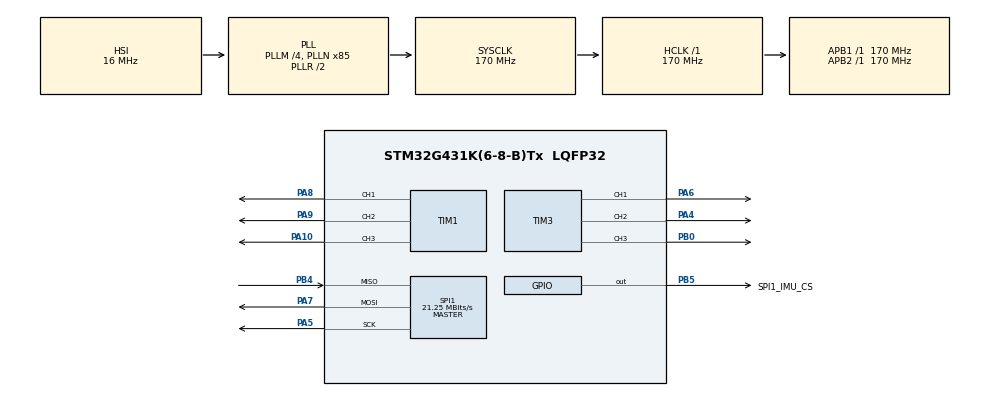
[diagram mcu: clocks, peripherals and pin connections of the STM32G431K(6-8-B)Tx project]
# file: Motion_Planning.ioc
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Mcu.Family=STM32G4
Mcu.Name=STM32G431K(6-8-B)Tx
Mcu.Package=LQFP32
NUCLEO-G431KB.LD2=true
NUCLEO-G431KB.VCP=true
NVIC.PriorityGroup=NVIC_PRIORITYGROUP_4
PA10.Signal=S_TIM1_CH3
PA13.GPIO_Label=T_SWDIO
PA13.Signal=SYS_JTMS-SWDIO
PA14.GPIO_Label=T_SWCLK
PA14.Signal=SYS_JTCK-SWCLK
PA2.Signal=USART2_TX
PA3.Signal=USART2_RX
PA4.Signal=S_TIM3_CH2
PA5.Mode=Full_Duplex_Master
PA5.Signal=SPI1_SCK
PA6.Signal=S_TIM3_CH1
PA7.Mode=Full_Duplex_Master
PA7.Signal=SPI1_MOSI
PA8.Signal=S_TIM1_CH1
PA9.Signal=S_TIM1_CH2
PB0.Signal=S_TIM3_CH3
PB3.GPIO_Label=T_SWO
PB3.Signal=SYS_JTDO-SWO
PB4.Mode=Full_Duplex_Master
PB4.Signal=SPI1_MISO
PB5.GPIO_Label=SPI1_IMU_CS
PB5.Signal=GPIO_Output
ProjectManager.HeapSize=0x200
ProjectManager.StackSize=0x400
ProjectManager.TargetToolchain=STM32CubeIDE
RCC.ADC12Freq_Value=170000000
RCC.AHBFreq_Value=170000000
RCC.APB1Freq_Value=170000000
RCC.APB1TimFreq_Value=170000000
RCC.APB2Freq_Value=170000000
RCC.APB2TimFreq_Value=170000000
RCC.CortexFreq_Value=170000000
RCC.EXTERNAL_CLOCK_VALUE=12288000
RCC.HCLKFreq_Value=170000000
RCC.HSE_VALUE=8000000
RCC.HSI48_VALUE=48000000
RCC.HSI_VALUE=16000000
RCC.LSE_VALUE=32768
RCC.PLLM=RCC_PLLM_DIV4
RCC.PLLN=85
RCC.SYSCLKFreq_VALUE=170000000
RCC.SYSCLKSource=RCC_SYSCLKSOURCE_PLLCLK
RCC.USBFreq_Value=170000000
RCC.VCOOutputFreq_Value=340000000
SH.S_TIM1_CH1.0=TIM1_CH1,PWM Generation1 CH1
SH.S_TIM1_CH2.0=TIM1_CH2,PWM Generation2 CH2
SH.S_TIM1_CH3.0=TIM1_CH3,PWM Generation3 CH3
SH.S_TIM3_CH1.0=TIM3_CH1,PWM Generation1 CH1
SH.S_TIM3_CH2.0=TIM3_CH2,PWM Generation2 CH2
SH.S_TIM3_CH3.0=TIM3_CH3,PWM Generation3 CH3
SPI1.BaudRatePrescaler=SPI_BAUDRATEPRESCALER_8
SPI1.CalculateBaudRate=21.25 MBits/s
SPI1.DataSize=SPI_DATASIZE_8BIT
SPI1.Direction=SPI_DIRECTION_2LINES
SPI1.Mode=SPI_MODE_MASTER
SPI1.VirtualType=VM_MASTER
TIM1.Channel-PWM\ Generation1\ CH1=TIM_CHANNEL_1
TIM1.Channel-PWM\ Generation2\ CH2=TIM_CHANNEL_2
TIM1.Channel-PWM\ Generation3\ CH3=TIM_CHANNEL_3
TIM3.Channel-PWM\ Generation1\ CH1=TIM_CHANNEL_1
TIM3.Channel-PWM\ Generation2\ CH2=TIM_CHANNEL_2
TIM3.Channel-PWM\ Generation3\ CH3=TIM_CHANNEL_3
VP_NUCLEO-G431KB_VS_BSP_COMMON.Mode=COMMON
VP_SYS_VS_DBSignals.Mode=DisableDeadBatterySignals
VP_TIM1_VS_ClockSourceINT.Mode=Internal
VP_TIM3_VS_ClockSourceINT.Mode=Internal
board=NUCLEO-G431KB

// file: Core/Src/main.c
/* USER CODE BEGIN Header */
/**
  ******************************************************************************
  * @file           : main.c
  * @brief          : Main program body
  ******************************************************************************
  * @attention
  *
  * Copyright (c) 2026 STMicroelectronics.
  * All rights reserved.
  *
  * This software is licensed under terms that can be found in the LICENSE file
  * in the root directory of this software component.
  * If no LICENSE file comes with this software, it is provided AS-IS.
  *
  ******************************************************************************
  */
/* USER CODE END Header */
#include "main.h"

/* USER CODE BEGIN PTD */

typedef enum {
	MOTOR_CH_1 = TIM_CHANNEL_1,
	MOTOR_CH_2 = TIM_CHANNEL_2,
	MOTOR_CH_3 = TIM_CHANNEL_3
} MOTOR_t;

/* USER CODE END PTD */

/* USER CODE BEGIN PD */

#define PWM_PERIOD 8500

/* USER CODE END PD */

COM_InitTypeDef BspCOMInit;

SPI_HandleTypeDef hspi1;

TIM_HandleTypeDef htim1;
TIM_HandleTypeDef htim3;

void SystemClock_Config(void);
static void MX_GPIO_Init(void);
static void MX_TIM1_Init(void);
static void MX_TIM3_Init(void);
static void MX_SPI1_Init(void);
/* USER CODE BEGIN PFP */

static void set_motor_PWM(TIM_HandleTypeDef* currTIM, MOTOR_t currMotor, float new_Duty);

/* USER CODE END PFP */

/* USER CODE BEGIN 0 */

static void set_motor_PWM(TIM_HandleTypeDef* currTIM, MOTOR_t currMotor, float new_Duty)   // duty: 0.0 to 1.0
{
    if (new_Duty < 0.0f) new_Duty = 0.0f;
    if (new_Duty > 1.0f) new_Duty = 1.0f;
    int new_ccr = new_Duty * PWM_PERIOD;
    __HAL_TIM_SET_COMPARE(currTIM, (uint32_t)currMotor, new_ccr);
}

/* USER CODE END 0 */

int main(void)
{

  /* MCU Configuration--------------------------------------------------------*/

  /* Reset of all peripherals, Initializes the Flash interface and the Systick. */
  HAL_Init();

  /* Configure the system clock */
  SystemClock_Config();

  /* Initialize all configured peripherals */
  MX_GPIO_Init();
  MX_TIM1_Init();
  MX_TIM3_Init();
  MX_SPI1_Init();
  /* USER CODE BEGIN 2 */

  //Left side i think
  set_motor_PWM(&htim1, MOTOR_CH_1, 0.25f);
  set_motor_PWM(&htim1, MOTOR_CH_2, 0.50f);
  set_motor_PWM(&htim1, MOTOR_CH_3, 0.75f);

  //Right side i think
  set_motor_PWM(&htim3, MOTOR_CH_1, 0.75f);
  set_motor_PWM(&htim3, MOTOR_CH_2, 0.50f);
  set_motor_PWM(&htim3, MOTOR_CH_3, 0.25f);

  /* USER CODE END 2 */

  /* Initialize leds */
  BSP_LED_Init(LED_GREEN);

  /* Initialize COM1 port (115200, 8 bits (7-bit data + 1 stop bit), no parity */
  BspCOMInit.BaudRate   = 115200;
  BspCOMInit.WordLength = COM_WORDLENGTH_8B;
  BspCOMInit.StopBits   = COM_STOPBITS_1;
  BspCOMInit.Parity     = COM_PARITY_NONE;
  BspCOMInit.HwFlowCtl  = COM_HWCONTROL_NONE;
  if (BSP_COM_Init(COM1, &BspCOMInit) != BSP_ERROR_NONE)
  {
    Error_Handler();
  }

  /* Infinite loop */
  while (1)
  {

  }
}

void SystemClock_Config(void)
{
  RCC_OscInitTypeDef RCC_OscInitStruct = {0};
  RCC_ClkInitTypeDef RCC_ClkInitStruct = {0};

  /** Configure the main internal regulator output voltage
  */
  HAL_PWREx_ControlVoltageScaling(PWR_REGULATOR_VOLTAGE_SCALE1_BOOST);

  /** Initializes the RCC Oscillators according to the specified parameters
  * in the RCC_OscInitTypeDef structure.
  */
  RCC_OscInitStruct.OscillatorType = RCC_OSCILLATORTYPE_HSI;
  RCC_OscInitStruct.HSIState = RCC_HSI_ON;
  RCC_OscInitStruct.HSICalibrationValue = RCC_HSICALIBRATION_DEFAULT;
  RCC_OscInitStruct.PLL.PLLState = RCC_PLL_ON;
  RCC_OscInitStruct.PLL.PLLSource = RCC_PLLSOURCE_HSI;
  RCC_OscInitStruct.PLL.PLLM = RCC_PLLM_DIV4;
  RCC_OscInitStruct.PLL.PLLN = 85;
  RCC_OscInitStruct.PLL.PLLP = RCC_PLLP_DIV2;
  RCC_OscInitStruct.PLL.PLLQ = RCC_PLLQ_DIV2;
  RCC_OscInitStruct.PLL.PLLR = RCC_PLLR_DIV2;
  if (HAL_RCC_OscConfig(&RCC_OscInitStruct) != HAL_OK)
  {
    Error_Handler();
  }

  /** Initializes the CPU, AHB and APB buses clocks
  */
  RCC_ClkInitStruct.ClockType = RCC_CLOCKTYPE_HCLK|RCC_CLOCKTYPE_SYSCLK
                              |RCC_CLOCKTYPE_PCLK1|RCC_CLOCKTYPE_PCLK2;
  RCC_ClkInitStruct.SYSCLKSource = RCC_SYSCLKSOURCE_PLLCLK;
  RCC_ClkInitStruct.AHBCLKDivider = RCC_SYSCLK_DIV1;
  RCC_ClkInitStruct.APB1CLKDivider = RCC_HCLK_DIV1;
  RCC_ClkInitStruct.APB2CLKDivider = RCC_HCLK_DIV1;

  if (HAL_RCC_ClockConfig(&RCC_ClkInitStruct, FLASH_LATENCY_4) != HAL_OK)
  {
    Error_Handler();
  }
}

static void MX_SPI1_Init(void)
{

  /* SPI1 parameter configuration*/
  hspi1.Instance = SPI1;
  hspi1.Init.Mode = SPI_MODE_MASTER;
  hspi1.Init.Direction = SPI_DIRECTION_2LINES;
  hspi1.Init.DataSize = SPI_DATASIZE_8BIT;
  hspi1.Init.CLKPolarity = SPI_POLARITY_LOW;
  hspi1.Init.CLKPhase = SPI_PHASE_1EDGE;
  hspi1.Init.NSS = SPI_NSS_SOFT;
  hspi1.Init.BaudRatePrescaler = SPI_BAUDRATEPRESCALER_8;
  hspi1.Init.FirstBit = SPI_FIRSTBIT_MSB;
  hspi1.Init.TIMode = SPI_TIMODE_DISABLE;
  hspi1.Init.CRCCalculation = SPI_CRCCALCULATION_DISABLE;
  hspi1.Init.CRCPolynomial = 7;
  hspi1.Init.CRCLength = SPI_CRC_LENGTH_DATASIZE;
  hspi1.Init.NSSPMode = SPI_NSS_PULSE_ENABLE;
  if (HAL_SPI_Init(&hspi1) != HAL_OK)
  {
    Error_Handler();
  }

}

static void MX_TIM1_Init(void)
{

  TIM_ClockConfigTypeDef sClockSourceConfig = {0};
  TIM_MasterConfigTypeDef sMasterConfig = {0};
  TIM_OC_InitTypeDef sConfigOC = {0};
  TIM_BreakDeadTimeConfigTypeDef sBreakDeadTimeConfig = {0};

  htim1.Instance = TIM1;
  htim1.Init.Prescaler = 0;
  htim1.Init.CounterMode = TIM_COUNTERMODE_UP;
  htim1.Init.Period = 65535;
  htim1.Init.ClockDivision = TIM_CLOCKDIVISION_DIV1;
  htim1.Init.RepetitionCounter = 0;
  htim1.Init.AutoReloadPreload = TIM_AUTORELOAD_PRELOAD_DISABLE;
  if (HAL_TIM_Base_Init(&htim1) != HAL_OK)
  {
    Error_Handler();
  }
  sClockSourceConfig.ClockSource = TIM_CLOCKSOURCE_INTERNAL;
  if (HAL_TIM_ConfigClockSource(&htim1, &sClockSourceConfig) != HAL_OK)
  {
    Error_Handler();
  }
  if (HAL_TIM_PWM_Init(&htim1) != HAL_OK)
  {
    Error_Handler();
  }
  sMasterConfig.MasterOutputTrigger = TIM_TRGO_RESET;
  sMasterConfig.MasterOutputTrigger2 = TIM_TRGO2_RESET;
  sMasterConfig.MasterSlaveMode = TIM_MASTERSLAVEMODE_DISABLE;
  if (HAL_TIMEx_MasterConfigSynchronization(&htim1, &sMasterConfig) != HAL_OK)
  {
    Error_Handler();
  }
  sConfigOC.OCMode = TIM_OCMODE_PWM1;
  sConfigOC.Pulse = 0;
  sConfigOC.OCPolarity = TIM_OCPOLARITY_HIGH;
  sConfigOC.OCNPolarity = TIM_OCNPOLARITY_HIGH;
  sConfigOC.OCFastMode = TIM_OCFAST_DISABLE;
  sConfigOC.OCIdleState = TIM_OCIDLESTATE_RESET;
  sConfigOC.OCNIdleState = TIM_OCNIDLESTATE_RESET;
  if (HAL_TIM_PWM_ConfigChannel(&htim1, &sConfigOC, TIM_CHANNEL_1) != HAL_OK)
  {
    Error_Handler();
  }
  if (HAL_TIM_PWM_ConfigChannel(&htim1, &sConfigOC, TIM_CHANNEL_2) != HAL_OK)
  {
    Error_Handler();
  }
  if (HAL_TIM_PWM_ConfigChannel(&htim1, &sConfigOC, TIM_CHANNEL_3) != HAL_OK)
  {
    Error_Handler();
  }
  sBreakDeadTimeConfig.OffStateRunMode = TIM_OSSR_DISABLE;
  sBreakDeadTimeConfig.OffStateIDLEMode = TIM_OSSI_DISABLE;
  sBreakDeadTimeConfig.LockLevel = TIM_LOCKLEVEL_OFF;
  sBreakDeadTimeConfig.DeadTime = 0;
  sBreakDeadTimeConfig.BreakState = TIM_BREAK_DISABLE;
  sBreakDeadTimeConfig.BreakPolarity = TIM_BREAKPOLARITY_HIGH;
  sBreakDeadTimeConfig.BreakFilter = 0;
  sBreakDeadTimeConfig.BreakAFMode = TIM_BREAK_AFMODE_INPUT;
  sBreakDeadTimeConfig.Break2State = TIM_BREAK2_DISABLE;
  sBreakDeadTimeConfig.Break2Polarity = TIM_BREAK2POLARITY_HIGH;
  sBreakDeadTimeConfig.Break2Filter = 0;
  sBreakDeadTimeConfig.Break2AFMode = TIM_BREAK_AFMODE_INPUT;
  sBreakDeadTimeConfig.AutomaticOutput = TIM_AUTOMATICOUTPUT_DISABLE;
  if (HAL_TIMEx_ConfigBreakDeadTime(&htim1, &sBreakDeadTimeConfig) != HAL_OK)
  {
    Error_Handler();
  }
  HAL_TIM_MspPostInit(&htim1);

}

static void MX_TIM3_Init(void)
{

  TIM_ClockConfigTypeDef sClockSourceConfig = {0};
  TIM_MasterConfigTypeDef sMasterConfig = {0};
  TIM_OC_InitTypeDef sConfigOC = {0};

  htim3.Instance = TIM3;
  htim3.Init.Prescaler = 0;
  htim3.Init.CounterMode = TIM_COUNTERMODE_UP;
  htim3.Init.Period = 65535;
  htim3.Init.ClockDivision = TIM_CLOCKDIVISION_DIV1;
  htim3.Init.AutoReloadPreload = TIM_AUTORELOAD_PRELOAD_DISABLE;
  if (HAL_TIM_Base_Init(&htim3) != HAL_OK)
  {
    Error_Handler();
  }
  sClockSourceConfig.ClockSource = TIM_CLOCKSOURCE_INTERNAL;
  if (HAL_TIM_ConfigClockSource(&htim3, &sClockSourceConfig) != HAL_OK)
  {
    Error_Handler();
  }
  if (HAL_TIM_PWM_Init(&htim3) != HAL_OK)
  {
    Error_Handler();
  }
  sMasterConfig.MasterOutputTrigger = TIM_TRGO_RESET;
  sMasterConfig.MasterSlaveMode = TIM_MASTERSLAVEMODE_DISABLE;
  if (HAL_TIMEx_MasterConfigSynchronization(&htim3, &sMasterConfig) != HAL_OK)
  {
    Error_Handler();
  }
  sConfigOC.OCMode = TIM_OCMODE_PWM1;
  sConfigOC.Pulse = 0;
  sConfigOC.OCPolarity = TIM_OCPOLARITY_HIGH;
  sConfigOC.OCFastMode = TIM_OCFAST_DISABLE;
  if (HAL_TIM_PWM_ConfigChannel(&htim3, &sConfigOC, TIM_CHANNEL_1) != HAL_OK)
  {
    Error_Handler();
  }
  if (HAL_TIM_PWM_ConfigChannel(&htim3, &sConfigOC, TIM_CHANNEL_2) != HAL_OK)
  {
    Error_Handler();
  }
  if (HAL_TIM_PWM_ConfigChannel(&htim3, &sConfigOC, TIM_CHANNEL_3) != HAL_OK)
  {
    Error_Handler();
  }
  HAL_TIM_MspPostInit(&htim3);

}

static void MX_GPIO_Init(void)
{
  GPIO_InitTypeDef GPIO_InitStruct = {0};

  /* GPIO Ports Clock Enable */
  __HAL_RCC_GPIOA_CLK_ENABLE();
  __HAL_RCC_GPIOB_CLK_ENABLE();

  /*Configure GPIO pin Output Level */
  HAL_GPIO_WritePin(SPI1_IMU_CS_GPIO_Port, SPI1_IMU_CS_Pin, GPIO_PIN_RESET);

  /*Configure GPIO pin : SPI1_IMU_CS_Pin */
  GPIO_InitStruct.Pin = SPI1_IMU_CS_Pin;
  GPIO_InitStruct.Mode = GPIO_MODE_OUTPUT_PP;
  GPIO_InitStruct.Pull = GPIO_NOPULL;
  GPIO_InitStruct.Speed = GPIO_SPEED_FREQ_LOW;
  HAL_GPIO_Init(SPI1_IMU_CS_GPIO_Port, &GPIO_InitStruct);

}

/* USER CODE BEGIN Header */
/**
  ******************************************************************************
  * @file           : main.c
  * @brief          : Main program body
  ******************************************************************************
  * @attention
  *
  * Copyright (c) 2026 STMicroelectronics.
  * All rights reserved.
  *
  * This software is licensed under terms that can be found in the LICENSE file
  * in the root directory of this software component.
  * If no LICENSE file comes with this software, it is provided AS-IS.
  *
  ******************************************************************************
  */
/* USER CODE END Header */

void Error_Handler(void)
{
  __disable_irq();
  while (1)
  {
  }
}
